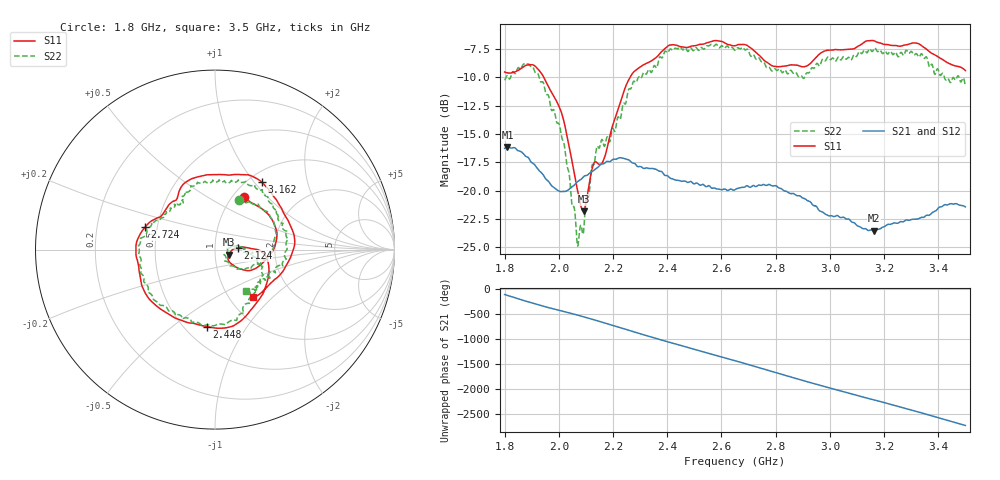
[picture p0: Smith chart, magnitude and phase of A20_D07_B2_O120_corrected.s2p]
! Created with skrf 1.9.0 (http://scikit-rf.org).
# Hz S RI R 50.0
!freq ReS11 ImS11 ReS21 ImS21 ReS12 ImS12 ReS22 ImS22
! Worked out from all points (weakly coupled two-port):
!   1601 points, 1.8 GHz to 3.5 GHz, reference 50 ohm
!   highest |S21| = -16.17 dB at 1.811 GHz (marker M1); lowest = -23.5 dB at 3.162 GHz (marker M2)
!   lowest |S11| = -21.8 dB at 2.091 GHz (marker M3), VSWR 1.18, Z = 58.1 - j3.31 ohm
!   |S11| at or under -10 dB: 1.944 GHz to 2.263 GHz (318.6 MHz wide, 15.1 % of centre)
!   |S22| runs from -24.9 to -7.1 dB; largest |S21 - S12| = 0.0028
!   S11 on the Smith chart (normalised r, x): 1.8 GHz: 1.13, +0.74; 2.124 GHz: 1.29, +0.02; 2.448 GHz: 0.64, -0.67; 2.724 GHz: 0.43, +0.13; 3.162 GHz: 1.14, +1.09; 3.5 GHz: 1.27, -0.76
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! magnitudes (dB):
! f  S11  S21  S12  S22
! 1.8 GHz  -9.5  -16.3  -16.3  -10.3
! 1.811 GHz  -9.6  -16.2  -16.2  -9.9
! 1.883 GHz  -8.9  -17.0  -17.1  -8.8
! 1.941 GHz  -9.9  -18.6  -18.6  -10.4
! 2.013 GHz  -13.3  -20.1  -20.1  -15.5
! 2.067 GHz  -19.7  -19.3  -19.3  -24.5
! 2.084 GHz  -21.6  -19.0  -18.9  -23.2
! 2.091 GHz  -21.8  -18.8  -18.8  -23.7
! 2.124 GHz  -18.0  -18.3  -18.3  -17.7
! 2.166 GHz  -17.3  -17.6  -17.6  -16.0
! 2.207 GHz  -13.7  -17.2  -17.2  -14.8
! 2.264 GHz  -9.9  -17.4  -17.4  -11.0
! 2.367 GHz  -8.1  -18.3  -18.2  -8.6
! 2.448 GHz  -7.3  -19.2  -19.2  -7.3
! 2.65 GHz  -7.2  -19.9  -19.9  -7.6
! 2.724 GHz  -7.7  -19.6  -19.6  -8.3
! 2.796 GHz  -9.0  -19.6  -19.6  -9.3
! 2.934 GHz  -8.6  -21.2  -21.2  -9.2
! 3.162 GHz  -6.8  -23.5  -23.5  -7.5
! 3.217 GHz  -7.1  -23.0  -23.0  -7.9
! 3.324 GHz  -7.0  -22.5  -22.5  -8.1
! 3.5 GHz  -9.4  -21.4  -21.4  -10.8
